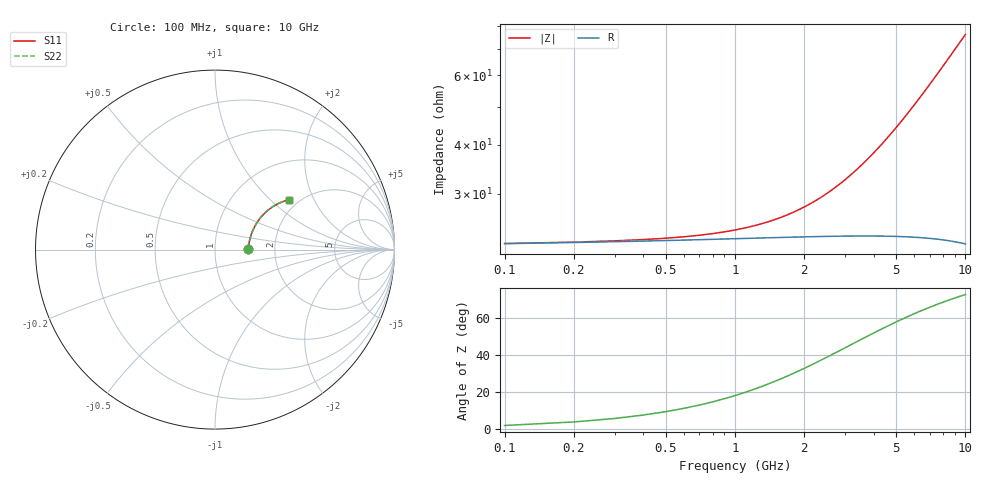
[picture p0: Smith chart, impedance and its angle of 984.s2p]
# Hz S RI R 50.00
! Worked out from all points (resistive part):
!   100 points, 100 MHz to 10 GHz, reference 50 ohm
!   read as one part in series: R = 22.4 ohm at 100 MHz
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1e8  0.1832 0.00425  0.8168 -0.00579  0.8168 -0.00579  0.1832 0.00425
6e8  0.1874 0.0252  0.8125 -0.0345  0.8125 -0.0345  0.1874 0.0252
8e8  0.189 0.0335  0.8109 -0.0458  0.8109 -0.0458  0.189 0.0335
1e9  0.1906 0.0418  0.8092 -0.0572  0.8092 -0.0572  0.1906 0.0418
1.4e9  0.1944 0.0581  0.8053 -0.0796  0.8053 -0.0796  0.1944 0.0581
1.8e9  0.199 0.0741  0.8006 -0.1018  0.8006 -0.1018  0.199 0.0741
2.2e9  0.2042 0.0898  0.7951 -0.1236  0.7951 -0.1236  0.2042 0.0898
2.6e9  0.2102 0.1051  0.7889 -0.1451  0.7889 -0.1451  0.2102 0.1051
3.4e9  0.2245 0.1343  0.774 -0.1866  0.774 -0.1866  0.2245 0.1343
3.8e9  0.2327 0.1482  0.7654 -0.2067  0.7654 -0.2067  0.2327 0.1482
4.3e9  0.2438 0.1647  0.7538 -0.2309  0.7538 -0.2309  0.2438 0.1647
4.7e9  0.2533 0.1772  0.7438 -0.2496  0.7438 -0.2496  0.2533 0.1772
5.1e9  0.2635 0.189  0.7331 -0.2677  0.7331 -0.2677  0.2635 0.189
5.5e9  0.2741 0.2002  0.722 -0.2851  0.722 -0.2851  0.2741 0.2002
5.9e9  0.2851 0.2108  0.7103 -0.3018  0.7103 -0.3018  0.2851 0.2108
6.3e9  0.2966 0.2206  0.6982 -0.3179  0.6982 -0.3179  0.2966 0.2206
6.7e9  0.3084 0.2297  0.6857 -0.3333  0.6857 -0.3333  0.3084 0.2297
7.5e9  0.3328 0.2458  0.6598 -0.3619  0.6598 -0.3619  0.3328 0.2458
7.9e9  0.3454 0.2527  0.6464 -0.3751  0.6464 -0.3751  0.3454 0.2527
8.4e9  0.3612 0.2605  0.6294 -0.3907  0.6294 -0.3907  0.3612 0.2605
9.2e9  0.387 0.2706  0.6018 -0.4135  0.6018 -0.4135  0.387 0.2706
1e10  0.4128 0.278  0.5739 -0.4337  0.5739 -0.4337  0.4128 0.278
